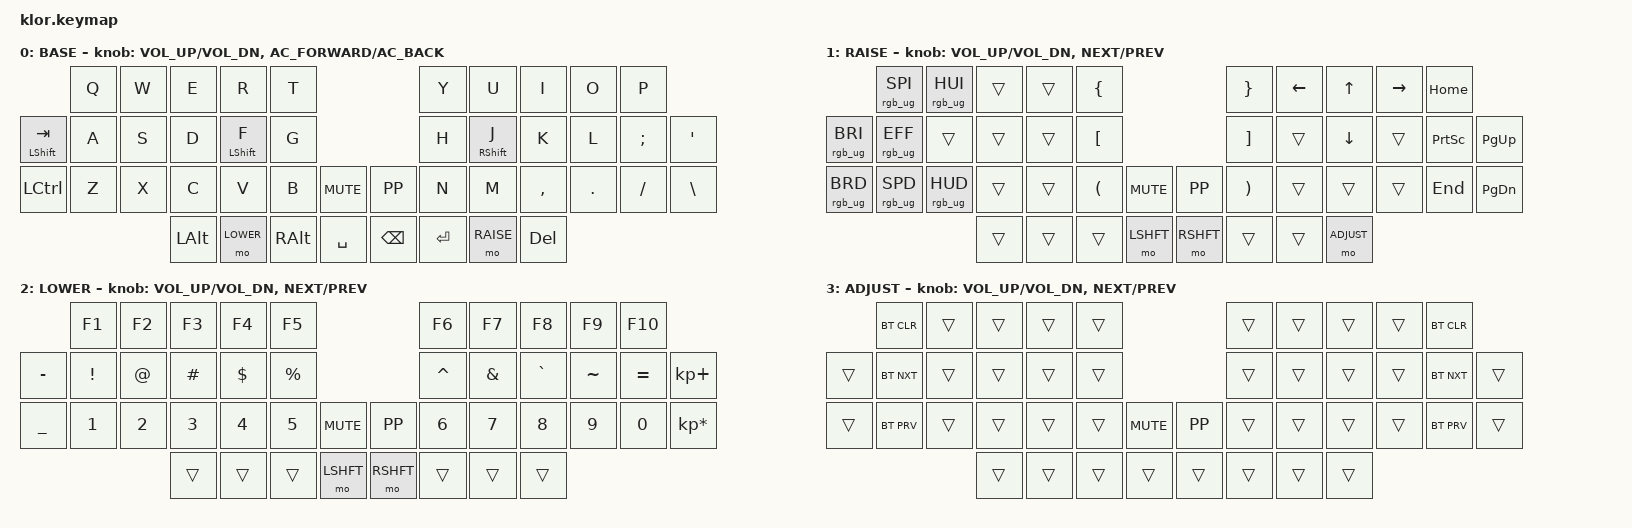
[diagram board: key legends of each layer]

//                               █         █    █            ▄▄▄▀▀▀▀▀▀▄▄▄        █▀▀▀▀▀▀▀▀▀▀█
//                               █        █     █          ▄▀            ▀▄      █          █
//                               █       █      █        ▄▀                ▀▄    █          █
//                               █      █       █        █                  █    █          █
//                               █     █        █       █                    █   █          █
//                               █    █         █       █                    █   █▄▄▄▄▄▄▄▄▄▄█
//                               █   █ █        █       █                    █   █      █
//                               █  █   █       █        █                  █    █       █
//                               █ █     █      █        ▀▄                ▄▀    █        █
//                               ██       █     █          ▀▄            ▄▀      █         █
//                               █         █    █▄▄▄▄▄▄▄▄    ▀▀▀▄▄▄▄▄▄▀▀▀        █          █
//
// ▄▄▄▄▄▄▄▄▄▄▄▄▄▄▄▄▄▄▄▄▄▄▄▄▄▄▄▄▄▄▄▄▄▄▄▄▄▄▄▄▄▄▄▄▄▄▄▄▄▄▄▄▄▄▄▄▄▄▄▄▄▄▄▄▄▄▄▄▄▄▄▄▄▄▄▄▄▄▄▄▄▄▄▄▄▄▄▄▄▄▄▄▄▄▄▄▄▄▄▄▄▄▄▄▄▄▄▄▄▄▄▄▄▄▄▄▄▄▄▄▄▄▄▄▄
       
#include <behaviors.dtsi>
#include <dt-bindings/zmk/keys.h>
#include <dt-bindings/zmk/bt.h>
#include <dt-bindings/zmk/outputs.h>
#include <dt-bindings/zmk/ext_power.h>
#include <dt-bindings/zmk/rgb.h>


#define BASE   0
#define RAISE  1
#define LOWER  2
#define ADJUST 3

&led_strip {
    chain-length = <21>;
};

&sensors {
    left_encoder {
        triggers-per-rotation = <15>;
    };

    right_encoder {
        triggers-per-rotation = <15>;
    };
};

/ {
    behaviors {
        hm: homerow_mods {
            compatible = "zmk,behavior-hold-tap";
            label = "HOMEROW_MODS";
            #binding-cells = <2>;
            tapping-term-ms = <250>;
            quick_tap_ms = <0>;
            flavor = "tap-preferred";
            bindings = <&kp>, <&kp>;
        };

    };

     combos {
            compatible = "zmk,combos";
            combo_esc {
                timeout-ms = <50>;
                key-positions = <0 1>;
                bindings = <&kp ESC>;
            };
            combo_closetab {
                timeout-ms = <50>;
                key-positions = <1 2>;
                bindings = <&macro_closetab>;
            };
            combo_lasttab {
                timeout-ms = <50>;
                key-positions = <2 3>;
                bindings = <&macro_lasttab>;
            };
     };

     macros {
            macro_closetab: macro_closetab {
                compatible = "zmk,behavior-macro";
                #binding-cells = <0>;
                bindings
                    = <&macro_press &kp LCTRL>
                    , <&macro_tap &kp F4>
                    , <&macro_release &kp LCTRL>
                    ;
            };
            macro_lasttab: macro_lasttab {
                compatible = "zmk,behavior-macro";
                #binding-cells = <0>;
                bindings
                    = <&macro_press &kp LCTRL>
                    , <&macro_tap &kp LS(T)>
                    , <&macro_release &kp LCTRL>
                    ;
            };
     };

     keymap {
            compatible = "zmk,keymap";
// ▄▄▄▄▄▄▄▄▄▄▄▄▄▄▄▄▄▄▄▄▄▄▄▄▄▄▄▄▄▄▄▄▄▄▄▄▄▄▄▄▄▄▄▄▄▄▄▄▄▄▄▄▄▄▄▄▄▄▄▄▄▄▄▄▄▄▄▄▄▄▄▄▄▄▄▄▄▄▄▄▄▄▄▄▄▄▄▄▄▄▄▄▄▄▄▄▄▄▄▄▄▄▄▄▄▄▄▄▄▄▄▄▄▄▄▄▄▄▄▄▄▄▄▄▄▄▄▄▄▄▄▄▄▄▄▄▄▄▄▄▄▄


                base_layer {
// ┌───────────────────────────────────────────────────────────┐
label= "BASE"                                                  ;
// └───────────────────────────────────────────────────────────┘
/*           ┌─────────┬─────────┬─────────┬─────────┬─────────┐                    ┌─────────┬─────────┬─────────┬─────────┬─────────┐
             │    Q    │    W    │    E    │    R    │    T    │                    │    Y    │    U    │    I    │    O    │    P    │   
   ┌─────────┼─────────┼─────────┼─────────┼─────────┼─────────┤                    ├─────────┼─────────┼─────────┼─────────┼─────────┼─────────┐
   │   TAB   │    A    │    S    │    D    │    F    │    G    │                    │    H    │    J    │    K    │    L    │    ;    │    '    │
   ├─────────┼─────────┼─────────┼─────────┼─────────┼─────────┤╭────────╮╭────────╮├─────────┼─────────┼─────────┼─────────┼─────────┼─────────┤
   │   CTRL  │    Z    │    X    │    C    │    V    │    B    ││  MUTE  ││PLY/PSE ││    N    │    M    │    ,    │    .    │    /    │    \    │
   └─────────┴─────────┴─────────┼─────────┼─────────┼─────────┼╰────────╯╰────────╯┼─────────┼─────────┼─────────┼─────────┴─────────┴─────────┘
                                 │  LALT   │  LOWER  │  RALT   │  SPACE  ││  BSPCE  │  ENTER  │  RAISE  │    DEL  │  
                                 └─────────┴─────────┴─────────┴─────────┘└─────────┴─────────┴─────────┴─────────┘ */ 
 bindings = <
 //╷         ╷         ╷         ╷         ╷         ╷         ╷         ╷╷         ╷         ╷         ╷         ╷         ╷         ╷         ╷
              &kp Q     &kp W     &kp E     &kp R     &kp T                          &kp Y     &kp U     &kp I     &kp O     &kp P
    &hm LSHFT TAB   &kp A     &kp S     &kp D   &hm LSHFT F &kp G                          &kp H   &hm RSHFT J &kp K     &kp L     &kp SEMI     &kp SQT
    &kp LCTRL   &kp Z     &kp X     &kp C     &kp V     &kp B     &kp C_MUTE     &kp K_PP    &kp N     &kp M     &kp COMMA &kp DOT   &kp FSLH  &kp BSLH
                                  &kp LALT &mo LOWER &kp RALT &kp SPACE   &kp BSPC  &kp RET   &mo RAISE &kp DEL    
                        >;
            sensor-bindings = <&inc_dec_kp C_VOL_UP C_VOL_DN &inc_dec_kp C_AC_FORWARD C_AC_BACK>;
                };

// ▄▄▄▄▄▄▄▄▄▄▄▄▄▄▄▄▄▄▄▄▄▄▄▄▄▄▄▄▄▄▄▄▄▄▄▄▄▄▄▄▄▄▄▄▄▄▄▄▄▄▄▄▄▄▄▄▄▄▄▄▄▄▄▄▄▄▄▄▄▄▄▄▄▄▄▄▄▄▄▄▄▄▄▄▄▄▄▄▄▄▄▄▄▄▄▄▄▄▄▄▄▄▄▄▄▄▄▄▄▄▄▄▄▄▄▄▄▄▄▄▄▄▄▄▄▄▄▄▄▄▄▄▄▄▄▄▄▄▄▄▄▄


                raise_layer {
// ┌───────────────────────────────────────────────────────────┐
label= "RAISE"                                                 ;
// └───────────────────────────────────────────────────────────┘
/*           ┌─────────┬─────────┬─────────┬─────────┬─────────┐                    ┌─────────┬─────────┬─────────┬─────────┬─────────┐
             │ RGB_SPI │ RGB_HUI │         │         │    {    │                    │    }    │   LEFT  │   UP    │  RIGHT  │   HOME  │
   ┌─────────┼─────────┼─────────┼─────────┼─────────┼─────────┤                    ├─────────┼─────────┼─────────┼─────────┼─────────┼─────────┐
   │ RGB_BRI │ RGB_EFF │         │         │         │    [    │                    │    ]    │         │  DOWN   │         │  PSCRN  │  P UP   │
   ├─────────┼─────────┼─────────┼─────────┼─────────┼─────────┤╭────────╮╭────────╮├─────────┼─────────┼─────────┼─────────┼─────────┼─────────┤
   │ RGB_BRD │ RGB_SPD │ RGB_HUD │         │         │    (    ││  MUTE  ││PLY/PASE││    )    │         │         │         │   END   │ P DOWN  │
   └─────────┴─────────┴─────────┼─────────┼─────────┼─────────┼╰────────╯╰────────╯┼─────────┼─────────┼─────────┼─────────┴─────────┴─────────┘
                                 │         │         │         │  LSHIFT ││  RSHIFT │         │         │  ADJUST │  
                                 └─────────┴─────────┴─────────┴─────────┘└─────────┴─────────┴─────────┴─────────┘ */ 
 bindings = <
 //╷         ╷         ╷         ╷         ╷         ╷         ╷         ╷╷         ╷         ╷         ╷         ╷         ╷         ╷         ╷
                    &rgb_ug RGB_SPI &rgb_ug RGB_HUI &trans    &trans &kp LBRC                       &kp RBRC &kp LEFT &kp UP   &kp RIGHT &kp HOME
    &rgb_ug RGB_BRI &rgb_ug RGB_EFF &trans          &trans    &trans &kp LBKT                       &kp RBKT &trans   &kp DOWN &trans    &kp PSCRN &kp PG_UP
    &rgb_ug RGB_BRD &rgb_ug RGB_SPD &rgb_ug RGB_HUD &trans    &trans &kp LPAR &kp C_MUTE  &kp K_PP  &kp RPAR &trans   &trans   &trans    &kp END   &kp PG_DN
                                                    &trans    &trans &trans   &mo LSHFT   &mo RSHFT &trans   &trans   &mo ADJUST  
                        >;
            sensor-bindings = <&inc_dec_kp C_VOL_UP C_VOL_DN &inc_dec_kp C_NEXT C_PREV>;
                };

// ▄▄▄▄▄▄▄▄▄▄▄▄▄▄▄▄▄▄▄▄▄▄▄▄▄▄▄▄▄▄▄▄▄▄▄▄▄▄▄▄▄▄▄▄▄▄▄▄▄▄▄▄▄▄▄▄▄▄▄▄▄▄▄▄▄▄▄▄▄▄▄▄▄▄▄▄▄▄▄▄▄▄▄▄▄▄▄▄▄▄▄▄▄▄▄▄▄▄▄▄▄▄▄▄▄▄▄▄▄▄▄▄▄▄▄▄▄▄▄▄▄▄▄▄▄


                lower_layer {
// ┌───────────────────────────────────────────────────────────┐
label= "LOWER"                                                 ;
// └───────────────────────────────────────────────────────────┘
/*           ┌─────────┬─────────┬─────────┬─────────┬─────────┐                    ┌─────────┬─────────┬─────────┬─────────┬─────────┐
             │   F1    │   F2    │   F3    │   F4    │   F5    │                    │   F6    │   F7    │   F8    │   F9    │   F10   │
   ┌─────────┼─────────┼─────────┼─────────┼─────────┼─────────┤                    ├─────────┼─────────┼─────────┼─────────┼─────────┼─────────┐
   │    -    │    !    │    @    │    #    │    $    │    %    │                    │    ^    │    &    │    `    │    ~    │    =    │    +    │
   ├─────────┼─────────┼─────────┼─────────┼─────────┼─────────┤╭────────╮╭────────╮├─────────┼─────────┼─────────┼─────────┼─────────┼─────────┤
   │    _    │    1    │    2    │    3    │    4    │    5    ││  MUTE  ││PLY/PASE││    6    │    7    │    8    │    9    │    0    │    *    │
   └─────────┴─────────┴─────────┼─────────┼─────────┼─────────┼╰────────╯╰────────╯┼─────────┼─────────┼─────────┼─────────┴─────────┴─────────┘
                                 │         │         │         │  LSHIFT ││  RSHIFT │         │         │         │  
                                 └─────────┴─────────┴─────────┴─────────┘└─────────┴─────────┴─────────┴─────────┘ */ 
 bindings = <
 //╷         ╷         ╷         ╷         ╷         ╷         ╷         ╷╷         ╷         ╷         ╷         ╷         ╷         ╷         ╷
              &kp F1    &kp F2   &kp F3      &kp F4   &kp F5                           &kp F6    &kp F7    &kp F8    &kp F9    &kp F10     
    &kp MINUS &kp EXCL  &kp AT   &kp POUND   &kp DLLR &kp PRCNT                        &kp CARET &kp AMPS  &kp GRAVE &kp TILDE &kp EQUAL &kp KP_PLUS  
    &kp UNDER &kp N1    &kp N2   &kp N3      &kp N4   &kp N5   &kp C_MUTE    &kp K_PP  &kp N6   &kp N7     &kp N8    &kp N9    &kp N0    &kp KP_MULTIPLY
                                 &trans      &trans   &trans   &mo LSHFT     &mo RSHFT &trans   &trans     &trans  
                        >;
                sensor-bindings = <&inc_dec_kp C_VOL_UP C_VOL_DN &inc_dec_kp C_NEXT C_PREV>;
                };

// ▄▄▄▄▄▄▄▄▄▄▄▄▄▄▄▄▄▄▄▄▄▄▄▄▄▄▄▄▄▄▄▄▄▄▄▄▄▄▄▄▄▄▄▄▄▄▄▄▄▄▄▄▄▄▄▄▄▄▄▄▄▄▄▄▄▄▄▄▄▄▄▄▄▄▄▄▄▄▄▄▄▄▄▄▄▄▄▄▄▄▄▄▄▄▄▄▄▄▄▄▄▄▄▄▄▄▄▄▄▄▄▄▄▄▄▄▄▄▄▄▄▄▄▄▄


                adjust_layer {
// ┌───────────────────────────────────────────────────────────┐
label= "ADJUST"                                                ;
// └───────────────────────────────────────────────────────────┘
/*           ┌─────────┬─────────┬─────────┬─────────┬─────────┐                    ┌─────────┬─────────┬─────────┬─────────┬─────────┐
             │ BT_CLR  │         │         │         │         │                    │         │         │         │         │ BT_CLR  │
   ┌─────────┼─────────┼─────────┼─────────┼─────────┼─────────┤                    ├─────────┼─────────┼─────────┼─────────┼─────────┼─────────┐
   │         │ BT_NXT  │         │         │         │         │                    │         │         │         │         │ BT_NXT  │         │
   ├─────────┼─────────┼─────────┼─────────┼─────────┼─────────┤╭────────╮╭────────╮├─────────┼─────────┼─────────┼─────────┼─────────┼─────────┤
   │         │ BT_PRV  │         │         │         │         ││  MUTE  ││PLY/PASE││         │         │         │         │ BT_PRV  │         │
   └─────────┴─────────┴─────────┼─────────┼─────────┼─────────┼╰────────╯╰────────╯┼─────────┼─────────┼─────────┼─────────┴─────────┴─────────┘
                                 │         │         │         │         ││         │         │         │         │  
                                 └─────────┴─────────┴─────────┴─────────┘└─────────┴─────────┴─────────┴─────────┘ */ 
 bindings = <
 //╷         ╷         ╷         ╷         ╷         ╷         ╷         ╷╷         ╷         ╷         ╷         ╷         ╷         ╷         ╷
             &bt BT_CLR &trans    &trans    &trans    &trans                         &trans    &trans    &trans    &trans    &bt BT_CLR   
    &trans   &bt BT_NXT &trans    &trans    &trans    &trans                         &trans    &trans    &trans    &trans    &bt BT_NXT   &trans 
    &trans   &bt BT_PRV &trans    &trans    &trans    &trans    &kp C_MUTE  &kp K_PP &trans    &trans    &trans    &trans    &bt BT_PRV   &trans    
                                  &trans    &trans    &trans    &trans      &trans   &trans    &trans    &trans    
                        >;
            sensor-bindings = <&inc_dec_kp C_VOL_UP C_VOL_DN &inc_dec_kp C_NEXT C_PREV>;
                };
        };
};
